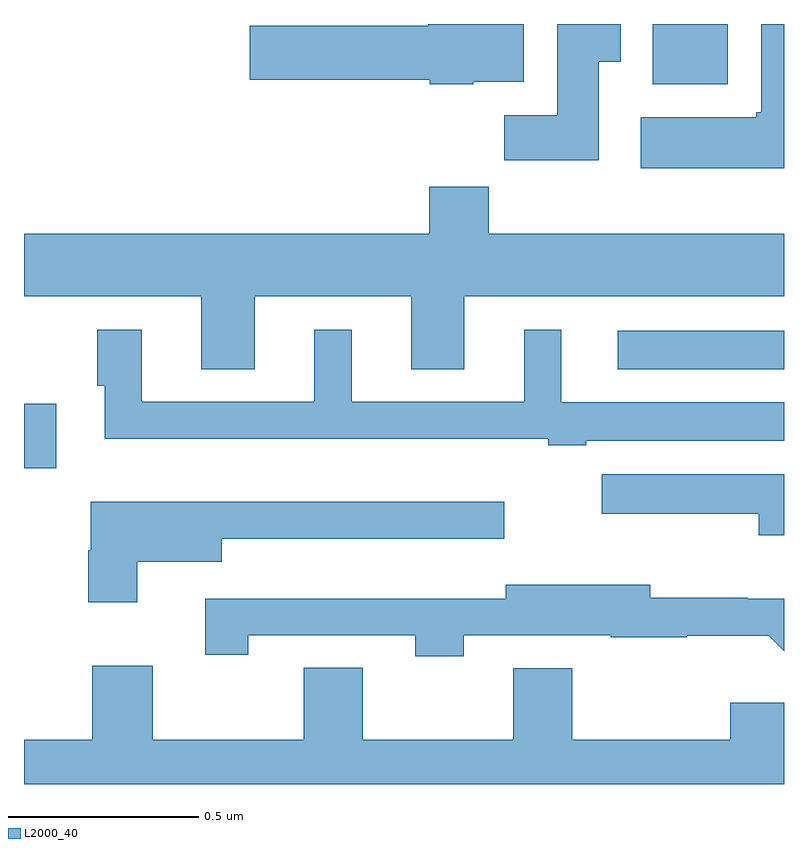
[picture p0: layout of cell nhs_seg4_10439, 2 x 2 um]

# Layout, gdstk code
import gdstk
lib = gdstk.Library(unit=1e-6, precision=1e-09)
def R(c, l, rs):  # rectangles x0, y0, x1, y1
    for r in rs: c.add(gdstk.rectangle(r[:2], r[2:], *l))
def P(c, l, *ps):  # polygons
    for p in ps: c.add(gdstk.Polygon(p, *l))
L2000_40 = (2000, 40)

nhs_seg4_10439 = lib.new_cell('nhs_seg4_10439')
R(nhs_seg4_10439, L2000_40, [(240,765.731,240.085,765.901), (241.563,765.992,242,766.093), (241.655,766.742,241.852,766.9)])
P(nhs_seg4_10439, L2000_40, [(242,766.9),(241.94,766.9),(241.94,766.668),(241.927,766.668),(241.927,766.654),(241.623,766.654),(241.623,766.52),(242,766.52)],
  [(241.513,766.801),(241.57,766.801),(241.57,766.9),(241.403,766.9),(241.403,766.66),(241.264,766.66),(241.264,766.542),(241.513,766.542)],
  [(241.182,766.748),(241.315,766.748),(241.315,766.9),(241.064,766.9),(241.064,766.895),(240.594,766.895),(240.594,766.753),(241.068,766.753),(241.068,766.742),(241.182,766.742)],
  [(240.607,766.184),(241.019,766.184),(241.019,765.991),(241.159,765.991),(241.159,766.184),(242,766.184),(242,766.348),(241.223,766.348),(241.223,766.472),(241.067,766.472),(241.067,766.348),(240,766.348),(240,766.184),(240.467,766.184),(240.467,765.991),(240.607,765.991)],
  [(241.48,765.803),(242,765.803),(242,765.904),(241.414,765.904),(241.414,766.096),(241.316,766.096),(241.316,765.906),(240.862,765.906),(240.862,766.096),(240.764,766.096),(240.764,765.906),(240.31,765.906),(240.31,766.096),(240.193,766.096),(240.193,765.948),(240.213,765.948),(240.213,765.809),(241.38,765.809),(241.38,765.791),(241.48,765.791)],
  [(242,765.715),(241.521,765.715),(241.521,765.611),(241.934,765.611),(241.934,765.554),(242,765.554)],
  [(240.298,765.485),(240.52,765.485),(240.52,765.545),(241.264,765.545),(241.264,765.643),(240.176,765.643),(240.176,765.515),(240.169,765.515),(240.169,765.378),(240.298,765.378)],
  [(241.157,765.291),(241.544,765.291),(241.544,765.286),(241.744,765.286),(241.744,765.29),(241.96,765.29),(242,765.25),(242,765.388),(241.904,765.388),(241.904,765.39),(241.648,765.39),(241.648,765.424),(241.268,765.424),(241.268,765.388),(240.477,765.388),(240.477,765.24),(240.59,765.24),(240.59,765.291),(241.029,765.291),(241.029,765.236),(241.157,765.236)],
  [(241.443,765.205),(241.288,765.205),(241.288,765.016),(240.891,765.016),(240.891,765.206),(240.736,765.206),(240.736,765.016),(240.339,765.016),(240.339,765.211),(240.179,765.211),(240.179,765.016),(240,765.016),(240,764.9),(242,764.9),(242,765.114),(241.858,765.114),(241.858,765.016),(241.443,765.016)])

lib.write_gds('nhs_seg4_10439.gds')
